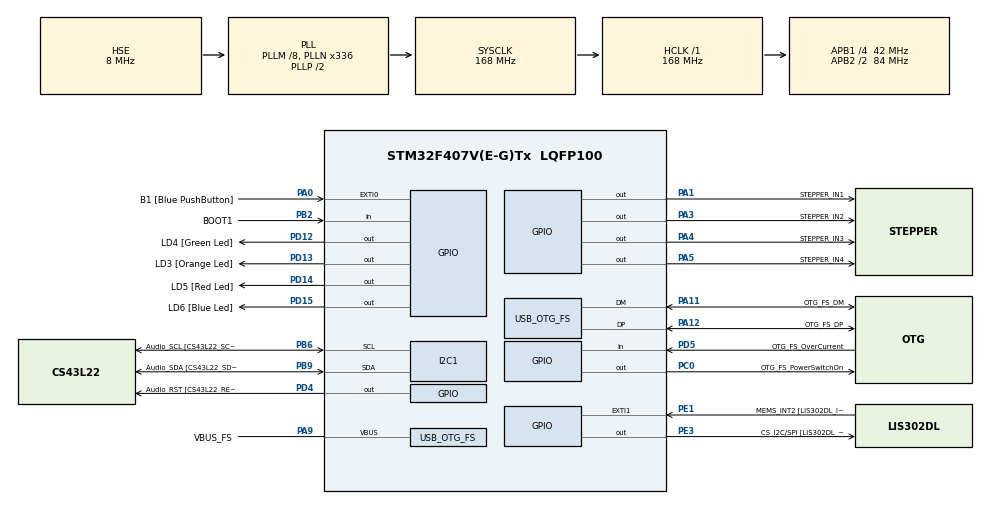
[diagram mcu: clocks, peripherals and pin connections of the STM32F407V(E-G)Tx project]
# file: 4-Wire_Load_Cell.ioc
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FREERTOS.Tasks01=defaultTask,24,128,StartDefaultTask,Default,NULL,Dynamic,NULL,NULL;PrintTask,8,256,StartPrintTask,As weak,NULL,Dynamic,NULL,NULL;LoadCellTask,8,512,StartLoadCellTask,As weak,NULL,Dynamic,NULL,NULL;StepperTask,8,256,StartStepperTask,As weak,NULL,Dynamic,NULL,NULL;CommandTask,24,512,StartCommandTask,As weak,NULL,Dynamic,NULL,NULL
FREERTOS.configUSE_NEWLIB_REENTRANT=1
Mcu.Family=STM32F4
Mcu.Name=STM32F407V(E-G)Tx
Mcu.Package=LQFP100
NVIC.OTG_FS_IRQn=true\:5\:0\:false\:false\:true\:true\:true\:true\:true
NVIC.PriorityGroup=NVIC_PRIORITYGROUP_4
NVIC.TIM1_UP_TIM10_IRQn=true\:15\:0\:false\:false\:true\:false\:false\:true\:true
NVIC.TimeBase=TIM1_UP_TIM10_IRQn
NVIC.TimeBaseIP=TIM1
PA0-WKUP.GPIO_Label=B1 [Blue PushButton]
PA0-WKUP.GPIO_ModeDefaultEXTI=GPIO_MODE_EVT_RISING
PA0-WKUP.GPIO_PuPd=GPIO_NOPULL
PA0-WKUP.Signal=GPXTI0
PA1.GPIO_Label=STEPPER_IN1
PA1.Signal=GPIO_Output
PA10.GPIO_Label=OTG_FS_ID
PA10.GPIO_Mode=GPIO_MODE_AF_PP
PA10.GPIO_PuPd=GPIO_NOPULL
PA10.GPIO_Speed=GPIO_SPEED_FREQ_LOW
PA10.Signal=USB_OTG_FS_ID
PA11.GPIO_Label=OTG_FS_DM
PA11.GPIO_Mode=GPIO_MODE_AF_PP
PA11.GPIO_PuPd=GPIO_NOPULL
PA11.GPIO_Speed=GPIO_SPEED_FREQ_LOW
PA11.Mode=Device_Only
PA11.Signal=USB_OTG_FS_DM
PA12.GPIO_Label=OTG_FS_DP
PA12.GPIO_Mode=GPIO_MODE_AF_PP
PA12.GPIO_PuPd=GPIO_NOPULL
PA12.GPIO_Speed=GPIO_SPEED_FREQ_LOW
PA12.Mode=Device_Only
PA12.Signal=USB_OTG_FS_DP
PA13.GPIO_Label=SWDIO
PA13.Mode=Serial_Wire
PA13.Signal=SYS_JTMS-SWDIO
PA14.GPIO_Label=SWCLK
PA14.Mode=Serial_Wire
PA14.Signal=SYS_JTCK-SWCLK
PA3.GPIO_Label=STEPPER_IN2
PA3.Signal=GPIO_Output
PA4.GPIO_Label=STEPPER_IN3
PA4.Signal=GPIO_Output
PA5.GPIO_Label=STEPPER_IN4
PA5.Signal=GPIO_Output
PA6.GPIO_Label=SPI1_MISO [LIS302DL_SDO]
PA6.GPIO_Mode=GPIO_MODE_AF_PP
PA6.GPIO_PuPd=GPIO_NOPULL
PA6.GPIO_Speed=GPIO_SPEED_FREQ_LOW
PA6.Signal=SPI1_MISO
PA7.GPIO_Label=SPI1_MOSI [LIS302DL_SDA/SDI/SDO]
PA7.GPIO_Mode=GPIO_MODE_AF_PP
PA7.GPIO_PuPd=GPIO_NOPULL
PA7.GPIO_Speed=GPIO_SPEED_FREQ_LOW
PA7.Signal=SPI1_MOSI
PA9.GPIO_Label=VBUS_FS
PA9.GPIO_Mode=GPIO_MODE_INPUT
PA9.GPIO_PuPd=GPIO_NOPULL
PA9.Mode=Activate_VBUS
PA9.Signal=USB_OTG_FS_VBUS
PB10.GPIO_Label=CLK_IN [MP45DT02_CLK]
PB10.GPIO_Mode=GPIO_MODE_AF_PP
PB10.GPIO_PuPd=GPIO_NOPULL
PB10.GPIO_Speed=GPIO_SPEED_FREQ_LOW
PB10.Signal=I2S2_CK
PB2.GPIO_Label=BOOT1
PB2.GPIO_Mode=GPIO_MODE_INPUT
PB2.GPIO_PuPd=GPIO_NOPULL
PB2.Signal=GPIO_Input
PB3.GPIO_Label=SWO
PB3.Signal=SYS_JTDO-SWO
PB6.GPIO_Label=Audio_SCL [CS43L22_SCL]
PB6.GPIO_Mode=GPIO_MODE_AF_OD
PB6.GPIO_Pu=GPIO_PULLUP
PB6.GPIO_PuPd=GPIO_NOPULL
PB6.GPIO_Speed=GPIO_SPEED_FREQ_LOW
PB6.Mode=I2C
PB6.Signal=I2C1_SCL
PB9.GPIO_Label=Audio_SDA [CS43L22_SDA]
PB9.GPIO_Mode=GPIO_MODE_AF_OD
PB9.GPIO_Pu=GPIO_PULLUP
PB9.GPIO_PuPd=GPIO_NOPULL
PB9.GPIO_Speed=GPIO_SPEED_FREQ_LOW
PB9.Mode=I2C
PB9.Signal=I2C1_SDA
PC0.GPIO_Label=OTG_FS_PowerSwitchOn
PC0.GPIO_PuPd=GPIO_NOPULL
PC0.GPIO_Speed=GPIO_SPEED_FREQ_LOW
PC0.PinState=GPIO_PIN_SET
PC0.Signal=GPIO_Output
PC10.GPIO_Label=I2S3_SCK [CS43L22_SCLK]
PC10.GPIO_Mode=GPIO_MODE_AF_PP
PC10.GPIO_PuPd=GPIO_NOPULL
PC10.GPIO_Speed=GPIO_SPEED_FREQ_LOW
PC10.Signal=I2S3_CK
PC12.GPIO_Label=I2S3_SD [CS43L22_SDIN]
PC12.GPIO_Mode=GPIO_MODE_AF_PP
PC12.GPIO_PuPd=GPIO_NOPULL
PC12.GPIO_Speed=GPIO_SPEED_FREQ_LOW
PC12.Signal=I2S3_SD
PC14-OSC32_IN.GPIO_Label=PC14-OSC32_IN
PC14-OSC32_IN.Mode=LSE-External-Oscillator
PC14-OSC32_IN.Signal=RCC_OSC32_IN
PC15-OSC32_OUT.GPIO_Label=PC15-OSC32_OUT
PC15-OSC32_OUT.Mode=LSE-External-Oscillator
PC15-OSC32_OUT.Signal=RCC_OSC32_OUT
PC3.GPIO_Label=PDM_OUT [MP45DT02_DOUT]
PC3.GPIO_Mode=GPIO_MODE_AF_PP
PC3.GPIO_PuPd=GPIO_NOPULL
PC3.GPIO_Speed=GPIO_SPEED_FREQ_LOW
PC3.Signal=I2S2_SD
PC7.GPIO_Label=I2S3_MCK [CS43L22_MCLK]
PC7.GPIO_Mode=GPIO_MODE_AF_PP
PC7.GPIO_PuPd=GPIO_NOPULL
PC7.GPIO_Speed=GPIO_SPEED_FREQ_LOW
PC7.Signal=I2S3_MCK
PD12.GPIO_Label=LD4 [Green Led]
PD12.GPIO_PuPd=GPIO_NOPULL
PD12.GPIO_Speed=GPIO_SPEED_FREQ_LOW
PD12.Signal=GPIO_Output
PD13.GPIO_Label=LD3 [Orange Led]
PD13.GPIO_PuPd=GPIO_NOPULL
PD13.GPIO_Speed=GPIO_SPEED_FREQ_LOW
PD13.Signal=GPIO_Output
PD14.GPIO_Label=LD5 [Red Led]
PD14.GPIO_PuPd=GPIO_NOPULL
PD14.GPIO_Speed=GPIO_SPEED_FREQ_LOW
PD14.Signal=GPIO_Output
PD15.GPIO_Label=LD6 [Blue Led]
PD15.GPIO_PuPd=GPIO_NOPULL
PD15.GPIO_Speed=GPIO_SPEED_FREQ_LOW
PD15.Signal=GPIO_Output
PD4.GPIO_Label=Audio_RST [CS43L22_RESET]
PD4.GPIO_PuPd=GPIO_NOPULL
PD4.GPIO_Speed=GPIO_SPEED_FREQ_LOW
PD4.Signal=GPIO_Output
PD5.GPIO_Label=OTG_FS_OverCurrent
PD5.GPIO_Mode=GPIO_MODE_INPUT
PD5.GPIO_PuPd=GPIO_NOPULL
PD5.Signal=GPIO_Input
PE1.GPIO_Label=MEMS_INT2 [LIS302DL_INT2]
PE1.GPIO_ModeDefaultEXTI=GPIO_MODE_EVT_RISING
PE1.GPIO_PuPd=GPIO_NOPULL
PE1.Signal=GPXTI1
PE3.GPIO_Label=CS_I2C/SPI [LIS302DL_CS_I2C/SPI]
PE3.GPIO_PuPd=GPIO_NOPULL
PE3.GPIO_Speed=GPIO_SPEED_FREQ_LOW
PE3.Signal=GPIO_Output
PH0-OSC_IN.GPIO_Label=PH0-OSC_IN
PH0-OSC_IN.Mode=HSE-External-Oscillator
PH0-OSC_IN.Signal=RCC_OSC_IN
PH1-OSC_OUT.GPIO_Label=PH1-OSC_OUT
PH1-OSC_OUT.Mode=HSE-External-Oscillator
PH1-OSC_OUT.Signal=RCC_OSC_OUT
ProjectManager.HeapSize=0x200
ProjectManager.StackSize=0x400
ProjectManager.TargetToolchain=STM32CubeIDE
RCC.48MHZClocksFreq_Value=48000000
RCC.AHBFreq_Value=168000000
RCC.APB1CLKDivider=RCC_HCLK_DIV4
RCC.APB1Freq_Value=42000000
RCC.APB1TimFreq_Value=84000000
RCC.APB2CLKDivider=RCC_HCLK_DIV2
RCC.APB2Freq_Value=84000000
RCC.APB2TimFreq_Value=168000000
RCC.CortexFreq_Value=168000000
RCC.HCLKFreq_Value=168000000
RCC.HSE_VALUE=8000000
RCC.HSI_VALUE=16000000
RCC.PLLM=8
RCC.PLLN=336
RCC.PLLQ=7
RCC.SYSCLKFreq_VALUE=168000000
RCC.SYSCLKSource=RCC_SYSCLKSOURCE_PLLCLK
RCC.VCOOutputFreq_Value=336000000
TIM2.Period=65535
TIM2.Prescaler=167
USB_DEVICE.CLASS_NAME_FS=CDC
USB_DEVICE.VirtualMode-CDC_FS=Cdc
USB_DEVICE.VirtualModeFS=Cdc_FS
USB_OTG_FS.VirtualMode=Device_Only
VP_FREERTOS_VS_CMSIS_V2.Mode=CMSIS_V2
VP_SYS_VS_tim1.Mode=TIM1
VP_TIM2_VS_ClockSourceINT.Mode=Internal
VP_USB_DEVICE_VS_USB_DEVICE_CDC_FS.Mode=CDC_FS
board=STM32F407G-DISC1

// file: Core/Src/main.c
/* USER CODE BEGIN Header */
/**
  ******************************************************************************
  * @file           : main.c
  * @brief          : Main program body
  ******************************************************************************
  * @attention
  *
  * Copyright (c) 2026 STMicroelectronics.
  * All rights reserved.
  *
  * This software is licensed under terms that can be found in the LICENSE file
  * in the root directory of this software component.
  * If no LICENSE file comes with this software, it is provided AS-IS.
  *
  ******************************************************************************
  */
/* USER CODE END Header */
#include "main.h"
#include "cmsis_os.h"
#include "usb_device.h"

/* USER CODE BEGIN Includes */
#include "command_task.h"
#include "shared_state.h"
/* USER CODE END Includes */

I2C_HandleTypeDef hi2c1;

TIM_HandleTypeDef htim2;

/* Definitions for defaultTask */
osThreadId_t defaultTaskHandle;
const osThreadAttr_t defaultTask_attributes = {
  .name = "defaultTask",
  .stack_size = 128 * 4,
  .priority = (osPriority_t) osPriorityNormal,
};
/* Definitions for PrintTask */
osThreadId_t PrintTaskHandle;
const osThreadAttr_t PrintTask_attributes = {
  .name = "PrintTask",
  .stack_size = 256 * 4,
  .priority = (osPriority_t) osPriorityLow,
};
/* Definitions for LoadCellTask */
osThreadId_t LoadCellTaskHandle;
const osThreadAttr_t LoadCellTask_attributes = {
  .name = "LoadCellTask",
  .stack_size = 512 * 4,
  .priority = (osPriority_t) osPriorityLow,
};
/* Definitions for StepperTask */
osThreadId_t StepperTaskHandle;
const osThreadAttr_t StepperTask_attributes = {
  .name = "StepperTask",
  .stack_size = 256 * 4,
  .priority = (osPriority_t) osPriorityLow,
};
/* Definitions for CommandTask */
osThreadId_t CommandTaskHandle;
const osThreadAttr_t CommandTask_attributes = {
  .name = "CommandTask",
  .stack_size = 512 * 4,
  .priority = (osPriority_t) osPriorityNormal,
};
/* USER CODE BEGIN PV */
osEventFlagsId_t g_cmd_event;
CommandParams    g_command_params = {0};
volatile uint8_t g_command_received = 0;
/* USER CODE END PV */

void SystemClock_Config(void);
static void MX_GPIO_Init(void);
static void MX_I2C1_Init(void);
static void MX_TIM2_Init(void);
void StartDefaultTask(void *argument);
void StartPrintTask(void *argument);
void StartLoadCellTask(void *argument);
void StartStepperTask(void *argument);
void StartCommandTask(void *argument);

/* USER CODE BEGIN 0 */
#include <stdio.h>
#include "usbd_cdc_if.h"

int __io_putchar(int ch) {
    uint8_t c = (uint8_t)ch;
    while (CDC_Transmit_FS(&c, 1) == USBD_BUSY);
    return ch;
}
/* USER CODE END 0 */

int main(void)
{

  /* MCU Configuration--------------------------------------------------------*/

  /* Reset of all peripherals, Initializes the Flash interface and the Systick. */
  HAL_Init();

  /* Configure the system clock */
  SystemClock_Config();

  /* Initialize all configured peripherals */
  MX_GPIO_Init();
  MX_I2C1_Init();
  MX_TIM2_Init();
  /* USER CODE BEGIN 2 */
  // Nothing needed here anymore - task handles everything
  /* USER CODE END 2 */

  /* Init scheduler */
  osKernelInitialize();

  /* Create the thread(s) */
  /* creation of defaultTask */
  defaultTaskHandle = osThreadNew(StartDefaultTask, NULL, &defaultTask_attributes);

  /* creation of PrintTask */
  PrintTaskHandle = osThreadNew(StartPrintTask, NULL, &PrintTask_attributes);

  /* creation of LoadCellTask */
  LoadCellTaskHandle = osThreadNew(StartLoadCellTask, NULL, &LoadCellTask_attributes);

  /* creation of StepperTask */
  StepperTaskHandle = osThreadNew(StartStepperTask, NULL, &StepperTask_attributes);

  /* creation of CommandTask */
  CommandTaskHandle = osThreadNew(StartCommandTask, NULL, &CommandTask_attributes);

  /* USER CODE BEGIN RTOS_EVENTS */
  g_cmd_event = osEventFlagsNew(NULL);
  /* USER CODE END RTOS_EVENTS */

  /* Start scheduler */
  osKernelStart();

  /* We should never get here as control is now taken by the scheduler */

  /* Infinite loop */
  while (1)
  {

  }
}

void SystemClock_Config(void)
{
  RCC_OscInitTypeDef RCC_OscInitStruct = {0};
  RCC_ClkInitTypeDef RCC_ClkInitStruct = {0};

  /** Configure the main internal regulator output voltage
  */
  __HAL_RCC_PWR_CLK_ENABLE();
  __HAL_PWR_VOLTAGESCALING_CONFIG(PWR_REGULATOR_VOLTAGE_SCALE1);

  /** Initializes the RCC Oscillators according to the specified parameters
  * in the RCC_OscInitTypeDef structure.
  */
  RCC_OscInitStruct.OscillatorType = RCC_OSCILLATORTYPE_HSE;
  RCC_OscInitStruct.HSEState = RCC_HSE_ON;
  RCC_OscInitStruct.PLL.PLLState = RCC_PLL_ON;
  RCC_OscInitStruct.PLL.PLLSource = RCC_PLLSOURCE_HSE;
  RCC_OscInitStruct.PLL.PLLM = 8;
  RCC_OscInitStruct.PLL.PLLN = 336;
  RCC_OscInitStruct.PLL.PLLP = RCC_PLLP_DIV2;
  RCC_OscInitStruct.PLL.PLLQ = 7;
  if (HAL_RCC_OscConfig(&RCC_OscInitStruct) != HAL_OK)
  {
    Error_Handler();
  }

  /** Initializes the CPU, AHB and APB buses clocks
  */
  RCC_ClkInitStruct.ClockType = RCC_CLOCKTYPE_HCLK|RCC_CLOCKTYPE_SYSCLK
                              |RCC_CLOCKTYPE_PCLK1|RCC_CLOCKTYPE_PCLK2;
  RCC_ClkInitStruct.SYSCLKSource = RCC_SYSCLKSOURCE_PLLCLK;
  RCC_ClkInitStruct.AHBCLKDivider = RCC_SYSCLK_DIV1;
  RCC_ClkInitStruct.APB1CLKDivider = RCC_HCLK_DIV4;
  RCC_ClkInitStruct.APB2CLKDivider = RCC_HCLK_DIV2;

  if (HAL_RCC_ClockConfig(&RCC_ClkInitStruct, FLASH_LATENCY_5) != HAL_OK)
  {
    Error_Handler();
  }
}

static void MX_I2C1_Init(void)
{

  hi2c1.Instance = I2C1;
  hi2c1.Init.ClockSpeed = 100000;
  hi2c1.Init.DutyCycle = I2C_DUTYCYCLE_2;
  hi2c1.Init.OwnAddress1 = 0;
  hi2c1.Init.AddressingMode = I2C_ADDRESSINGMODE_7BIT;
  hi2c1.Init.DualAddressMode = I2C_DUALADDRESS_DISABLE;
  hi2c1.Init.OwnAddress2 = 0;
  hi2c1.Init.GeneralCallMode = I2C_GENERALCALL_DISABLE;
  hi2c1.Init.NoStretchMode = I2C_NOSTRETCH_DISABLE;
  if (HAL_I2C_Init(&hi2c1) != HAL_OK)
  {
    Error_Handler();
  }

}

static void MX_TIM2_Init(void)
{

  TIM_ClockConfigTypeDef sClockSourceConfig = {0};
  TIM_MasterConfigTypeDef sMasterConfig = {0};

  htim2.Instance = TIM2;
  htim2.Init.Prescaler = 167;
  htim2.Init.CounterMode = TIM_COUNTERMODE_UP;
  htim2.Init.Period = 65535;
  htim2.Init.ClockDivision = TIM_CLOCKDIVISION_DIV1;
  htim2.Init.AutoReloadPreload = TIM_AUTORELOAD_PRELOAD_DISABLE;
  if (HAL_TIM_Base_Init(&htim2) != HAL_OK)
  {
    Error_Handler();
  }
  sClockSourceConfig.ClockSource = TIM_CLOCKSOURCE_INTERNAL;
  if (HAL_TIM_ConfigClockSource(&htim2, &sClockSourceConfig) != HAL_OK)
  {
    Error_Handler();
  }
  sMasterConfig.MasterOutputTrigger = TIM_TRGO_RESET;
  sMasterConfig.MasterSlaveMode = TIM_MASTERSLAVEMODE_DISABLE;
  if (HAL_TIMEx_MasterConfigSynchronization(&htim2, &sMasterConfig) != HAL_OK)
  {
    Error_Handler();
  }

}

static void MX_GPIO_Init(void)
{
  GPIO_InitTypeDef GPIO_InitStruct = {0};

  /* GPIO Ports Clock Enable */
  __HAL_RCC_GPIOE_CLK_ENABLE();
  __HAL_RCC_GPIOC_CLK_ENABLE();
  __HAL_RCC_GPIOH_CLK_ENABLE();
  __HAL_RCC_GPIOA_CLK_ENABLE();
  __HAL_RCC_GPIOB_CLK_ENABLE();
  __HAL_RCC_GPIOD_CLK_ENABLE();

  /*Configure GPIO pin Output Level */
  HAL_GPIO_WritePin(CS_I2C_SPI_GPIO_Port, CS_I2C_SPI_Pin, GPIO_PIN_RESET);

  /*Configure GPIO pin Output Level */
  HAL_GPIO_WritePin(OTG_FS_PowerSwitchOn_GPIO_Port, OTG_FS_PowerSwitchOn_Pin, GPIO_PIN_SET);

  /*Configure GPIO pin Output Level */
  HAL_GPIO_WritePin(GPIOA, STEPPER_IN1_Pin|STEPPER_IN2_Pin|STEPPER_IN3_Pin|STEPPER_IN4_Pin, GPIO_PIN_RESET);

  /*Configure GPIO pin Output Level */
  HAL_GPIO_WritePin(GPIOD, LD4_Pin|LD3_Pin|LD5_Pin|LD6_Pin
                          |Audio_RST_Pin, GPIO_PIN_RESET);

  /*Configure GPIO pin : CS_I2C_SPI_Pin */
  GPIO_InitStruct.Pin = CS_I2C_SPI_Pin;
  GPIO_InitStruct.Mode = GPIO_MODE_OUTPUT_PP;
  GPIO_InitStruct.Pull = GPIO_NOPULL;
  GPIO_InitStruct.Speed = GPIO_SPEED_FREQ_LOW;
  HAL_GPIO_Init(CS_I2C_SPI_GPIO_Port, &GPIO_InitStruct);

  /*Configure GPIO pin : OTG_FS_PowerSwitchOn_Pin */
  GPIO_InitStruct.Pin = OTG_FS_PowerSwitchOn_Pin;
  GPIO_InitStruct.Mode = GPIO_MODE_OUTPUT_PP;
  GPIO_InitStruct.Pull = GPIO_NOPULL;
  GPIO_InitStruct.Speed = GPIO_SPEED_FREQ_LOW;
  HAL_GPIO_Init(OTG_FS_PowerSwitchOn_GPIO_Port, &GPIO_InitStruct);

  /*Configure GPIO pin : PDM_OUT_Pin */
  GPIO_InitStruct.Pin = PDM_OUT_Pin;
  GPIO_InitStruct.Mode = GPIO_MODE_AF_PP;
  GPIO_InitStruct.Pull = GPIO_NOPULL;
  GPIO_InitStruct.Speed = GPIO_SPEED_FREQ_LOW;
  GPIO_InitStruct.Alternate = GPIO_AF5_SPI2;
  HAL_GPIO_Init(PDM_OUT_GPIO_Port, &GPIO_InitStruct);

  /*Configure GPIO pin : B1_Pin */
  GPIO_InitStruct.Pin = B1_Pin;
  GPIO_InitStruct.Mode = GPIO_MODE_EVT_RISING;
  GPIO_InitStruct.Pull = GPIO_NOPULL;
  HAL_GPIO_Init(B1_GPIO_Port, &GPIO_InitStruct);

  /*Configure GPIO pins : STEPPER_IN1_Pin STEPPER_IN2_Pin STEPPER_IN3_Pin STEPPER_IN4_Pin */
  GPIO_InitStruct.Pin = STEPPER_IN1_Pin|STEPPER_IN2_Pin|STEPPER_IN3_Pin|STEPPER_IN4_Pin;
  GPIO_InitStruct.Mode = GPIO_MODE_OUTPUT_PP;
  GPIO_InitStruct.Pull = GPIO_NOPULL;
  GPIO_InitStruct.Speed = GPIO_SPEED_FREQ_LOW;
  HAL_GPIO_Init(GPIOA, &GPIO_InitStruct);

  /*Configure GPIO pins : SPI1_MISO_Pin SPI1_MOSI_Pin */
  GPIO_InitStruct.Pin = SPI1_MISO_Pin|SPI1_MOSI_Pin;
  GPIO_InitStruct.Mode = GPIO_MODE_AF_PP;
  GPIO_InitStruct.Pull = GPIO_NOPULL;
  GPIO_InitStruct.Speed = GPIO_SPEED_FREQ_LOW;
  GPIO_InitStruct.Alternate = GPIO_AF5_SPI1;
  HAL_GPIO_Init(GPIOA, &GPIO_InitStruct);

  /*Configure GPIO pin : BOOT1_Pin */
  GPIO_InitStruct.Pin = BOOT1_Pin;
  GPIO_InitStruct.Mode = GPIO_MODE_INPUT;
  GPIO_InitStruct.Pull = GPIO_NOPULL;
  HAL_GPIO_Init(BOOT1_GPIO_Port, &GPIO_InitStruct);

  /*Configure GPIO pin : CLK_IN_Pin */
  GPIO_InitStruct.Pin = CLK_IN_Pin;
  GPIO_InitStruct.Mode = GPIO_MODE_AF_PP;
  GPIO_InitStruct.Pull = GPIO_NOPULL;
  GPIO_InitStruct.Speed = GPIO_SPEED_FREQ_LOW;
  GPIO_InitStruct.Alternate = GPIO_AF5_SPI2;
  HAL_GPIO_Init(CLK_IN_GPIO_Port, &GPIO_InitStruct);

  /*Configure GPIO pins : LD4_Pin LD3_Pin LD5_Pin LD6_Pin
                           Audio_RST_Pin */
  GPIO_InitStruct.Pin = LD4_Pin|LD3_Pin|LD5_Pin|LD6_Pin
                          |Audio_RST_Pin;
  GPIO_InitStruct.Mode = GPIO_MODE_OUTPUT_PP;
  GPIO_InitStruct.Pull = GPIO_NOPULL;
  GPIO_InitStruct.Speed = GPIO_SPEED_FREQ_LOW;
  HAL_GPIO_Init(GPIOD, &GPIO_InitStruct);

  /*Configure GPIO pins : I2S3_MCK_Pin I2S3_SCK_Pin I2S3_SD_Pin */
  GPIO_InitStruct.Pin = I2S3_MCK_Pin|I2S3_SCK_Pin|I2S3_SD_Pin;
  GPIO_InitStruct.Mode = GPIO_MODE_AF_PP;
  GPIO_InitStruct.Pull = GPIO_NOPULL;
  GPIO_InitStruct.Speed = GPIO_SPEED_FREQ_LOW;
  GPIO_InitStruct.Alternate = GPIO_AF6_SPI3;
  HAL_GPIO_Init(GPIOC, &GPIO_InitStruct);

  /*Configure GPIO pin : OTG_FS_OverCurrent_Pin */
  GPIO_InitStruct.Pin = OTG_FS_OverCurrent_Pin;
  GPIO_InitStruct.Mode = GPIO_MODE_INPUT;
  GPIO_InitStruct.Pull = GPIO_NOPULL;
  HAL_GPIO_Init(OTG_FS_OverCurrent_GPIO_Port, &GPIO_InitStruct);

  /*Configure GPIO pin : MEMS_INT2_Pin */
  GPIO_InitStruct.Pin = MEMS_INT2_Pin;
  GPIO_InitStruct.Mode = GPIO_MODE_EVT_RISING;
  GPIO_InitStruct.Pull = GPIO_NOPULL;
  HAL_GPIO_Init(MEMS_INT2_GPIO_Port, &GPIO_InitStruct);

}

void StartDefaultTask(void *argument)
{
  /* init code for USB_DEVICE */
  MX_USB_DEVICE_Init();
  for(;;)
  {
    osDelay(1);
  }
}

__weak void StartPrintTask(void *argument)
{
  /* USER CODE BEGIN StartPrintTask */

  // Wait for USB CDC to enumerate
  osDelay(1000);

  #if 0
	  printf("FreeRTOS + USB CDC ready!\r\n");

	  for (;;)
	  {
		printf("Hello from FreeRTOS! Tick: %lu\r\n", osKernelGetTickCount());
		osDelay(1000); // Always use osDelay in FreeRTOS tasks, never HAL_Delay
	  }
  #endif

  for (;;)
  {
    osDelay(1000);
  }
  /* USER CODE END StartPrintTask */
}

__weak void StartLoadCellTask(void *argument)
{
  for(;;)
  {
    osDelay(1);
  }
}

__weak void StartStepperTask(void *argument)
{
  for(;;)
  {
    osDelay(1);
  }
}

__weak void StartCommandTask(void *argument)
{
  for(;;)
  {
    osDelay(1);
  }
}

void HAL_TIM_PeriodElapsedCallback(TIM_HandleTypeDef *htim)
{
  if (htim->Instance == TIM1)
  {
    HAL_IncTick();
  }
}

void Error_Handler(void)
{
  __disable_irq();
  while (1)
  {
  }
}
